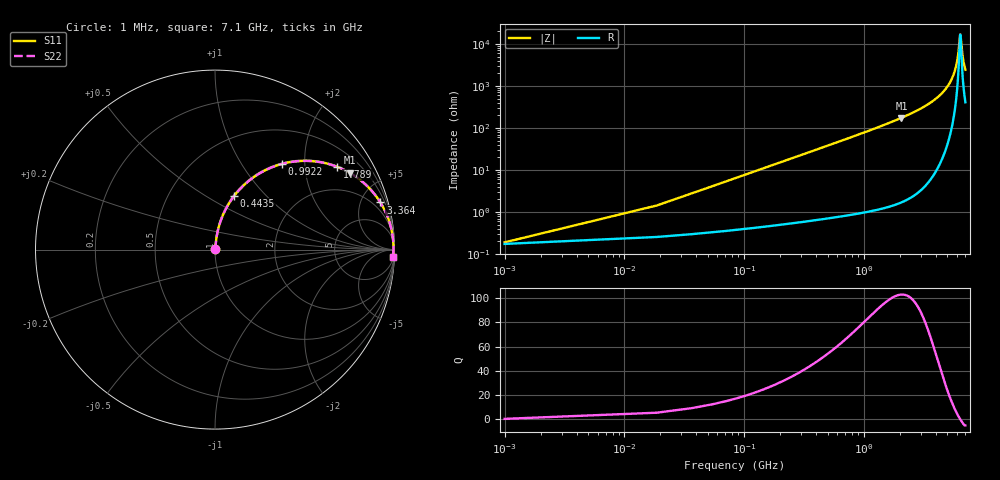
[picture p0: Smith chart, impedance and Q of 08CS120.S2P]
! Coilcraft 0805CS-120 Chip Inductor
! 11 June 2002
# MHZ S MA R 50
!Freq  MagS11  AngS11  MagS21  AngS21  MagS12  AngS12  MagS22  AngS22
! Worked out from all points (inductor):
!   403 points, 1 MHz to 7.1 GHz, reference 50 ohm
!   read as one part in series: L = 12 nH near 36.4 MHz
!   highest Q = 103 at 2.072 GHz (marker M1), where L = 13.4 nH
!   self-resonance near 6.426 GHz
!   S11 on the Smith chart (normalised r, x): 1 MHz: 1.00, +0.00; 443.5 MHz: 1.01, +0.67; 992.2 MHz: 1.02, +1.53; 1.789 GHz: 1.03, +2.92; 3.364 GHz: 1.09, +6.98; 7.1 GHz: 9, -48
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1  0.001897 23.3  0.9983 -0.0  0.9983 -0.0  0.001897 23.3
54.1  0.04076 83.1  0.9959 -2.3  0.9959 -2.3  0.04076 83.1
71.8  0.05399 83.1  0.995 -3.1  0.995 -3.1  0.05399 83.1
107.2  0.08036 82.5  0.9928 -4.6  0.9928 -4.6  0.08036 82.5
231.1  0.1711 78.4  0.9802 -9.8  0.9802 -9.8  0.1711 78.4
443.5  0.3166 70.4  0.9423 -18.5  0.9423 -18.5  0.3166 70.4
673.6  0.454 62.1  0.884 -27.0  0.884 -27.0  0.454 62.1
992.2  0.6046 52.1  0.7889 -37.2  0.7889 -37.2  0.6046 52.1
1186.9  0.6758 46.8  0.7294 -42.5  0.7294 -42.5  0.6758 46.8
1788.7  0.8216 34.2  0.5621 -55.2  0.5621 -55.2  0.8216 34.2
2071.9  0.8638 29.7  0.4956 -59.7  0.4956 -59.7  0.8638 29.7
2372.8  0.897 25.7  0.4332 -63.8  0.4332 -63.8  0.897 25.7
3364  0.958 15.9  0.2745 -73.3  0.2745 -73.3  0.958 15.9
3558.7  0.9648 14.5  0.2496 -74.7  0.2496 -74.7  0.9648 14.5
4744.6  0.988 7.2  0.1261 -80.9  0.1261 -80.9  0.988 7.2
5452.6  0.993 3.9  0.06827 -82.1  0.06827 -82.1  0.993 3.9
5930.5  0.9942 1.9  0.03391 -79.2  0.03391 -79.2  0.9942 1.9
6160.6  0.9943 1.0  0.01871 -71.8  0.01871 -71.8  0.9943 1.0
6390.7  0.9942 0.2  0.006495 -25.9  0.006495 -25.9  0.9942 0.2
6443.8  0.9941 -0.0  0.005932 5.2  0.005932 5.2  0.9941 -0.0
6744.7  0.9935 -1.1  0.02024 70.7  0.02024 70.7  0.9935 -1.1
7100  0.9923 -2.3  0.04082 78.0  0.04082 78.0  0.9923 -2.3
